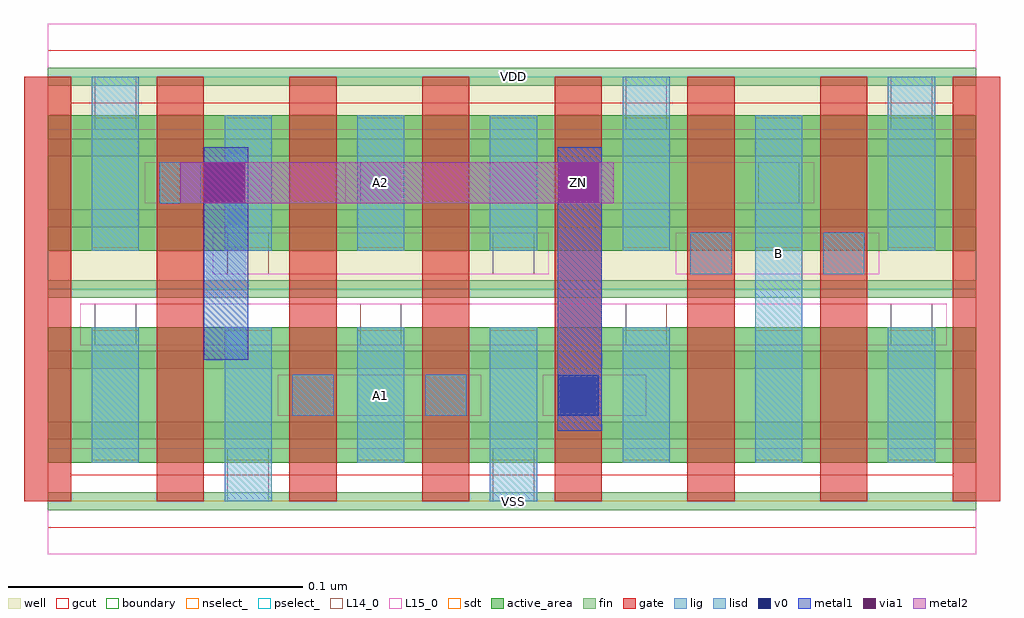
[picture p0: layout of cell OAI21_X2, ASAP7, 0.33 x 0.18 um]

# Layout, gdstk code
import gdstk
lib = gdstk.Library(unit=1e-6, precision=1e-09)
def R(c, l, rs):  # rectangles x0, y0, x1, y1
    for r in rs: c.add(gdstk.rectangle(r[:2], r[2:], *l))
def A(c, l, x, y, w, h, nx, ny, dx, dy):  # array of equal rectangles
    R(c, l, [(x+i*dx, y+j*dy, x+i*dx+w, y+j*dy+h) for i in range(nx) for j in range(ny)])
def P(c, l, *ps):  # polygons
    for p in ps: c.add(gdstk.Polygon(p, *l))
well = (1, 0)
fin = (2, 0)
gate = (7, 0)
gcut = (10, 0)
active_area = (11, 0)
nselect_ = (12, 0)
pselect_ = (13, 0)
L14_0 = (14, 0)
L15_0 = (15, 0)
lig = (16, 0)
lisd = (17, 0)
v0 = (18, 0)
metal1 = (19, 0)
metal2 = (20, 0)
via1 = (21, 0)
sdt = (88, 0)
boundary = (100, 0)

oai21_x2 = lib.new_cell('OAI21_X2')
R(oai21_x2, well, [(0,0.072,0.315,0.144)])
A(oai21_x2, fin, 0, -0.003, 0.315, 0.006, 1, 7, 0, 0.024)
A(oai21_x2, gate, -0.008, 0, 0.016, 0.144, 8, 1, 0.045, 0)
P(oai21_x2, gcut, [(0,-0.009),(0,0),(-0.008,0),(-0.008,0.135),(0.008,0.135),(0.008,0.009),(0.307,0.009),(0.307,0.135),(-0.008,0.135),(-0.008,0.144),(0,0.144),(0,0.153),(0.315,0.153),(0.315,0.144),(0.323,0.144),(0.323,0),(0.315,0),(0.315,-0.009)])
R(oai21_x2, active_area, [(0,0.013,0.315,0.059), (0,0.085,0.315,0.131)])
R(oai21_x2, nselect_, [(0,0,0.315,0.072)])
R(oai21_x2, pselect_, [(0,0.072,0.315,0.144)])
A(oai21_x2, L14_0, 0.083, 0.029, 0.014, 0.014, 3, 1, 0.045, 0)
A(oai21_x2, L14_0, 0.016, 0.053, 0.014, 0.014, 4, 1, 0.09, 0)
R(oai21_x2, L14_0, [(0.061,0,0.075,0.018), (0.151,0,0.165,0.018), (0.061,0.077,0.075,0.091), (0.151,0.077,0.165,0.091), (0.218,0.077,0.232,0.091), (0.263,0.077,0.277,0.091), (0.038,0.101,0.052,0.115), (0.106,0.101,0.12,0.115), (0.241,0.101,0.255,0.115), (0.016,0.126,0.03,0.144), (0.196,0.126,0.21,0.144), (0.286,0.126,0.3,0.144)])
R(oai21_x2, L15_0, [(0,-0.018,0.315,0.018), (0.078,0.029,0.147,0.043), (0.168,0.029,0.203,0.043), (0.011,0.053,0.305,0.067), (0.056,0.077,0.17,0.091), (0.213,0.077,0.282,0.091), (0.033,0.101,0.072,0.115), (0.101,0.101,0.26,0.115), (0,0.126,0.315,0.162)])
A(oai21_x2, lig, 0.083, 0.029, 0.014, 0.014, 3, 1, 0.045, 0)
R(oai21_x2, lig, [(0.218,0.077,0.232,0.091), (0.263,0.077,0.277,0.091), (0.038,0.101,0.052,0.115)])
A(oai21_x2, lisd, 0.015, 0.013, 0.016, 0.046, 4, 1, 0.09, 0)
A(oai21_x2, lisd, 0.06, 0.085, 0.016, 0.046, 3, 1, 0.045, 0)
R(oai21_x2, lisd, [(0.06,0,0.076,0.059), (0.15,0,0.166,0.059), (0.24,0.013,0.256,0.131), (0.015,0.085,0.031,0.144), (0.195,0.085,0.211,0.144), (0.285,0.085,0.301,0.144)])
R(oai21_x2, v0, [(0.173,0.029,0.187,0.043), (0.053,0.101,0.067,0.115)])
R(oai21_x2, metal1, [(0.173,0.024,0.188,0.12), (0.053,0.048,0.068,0.12)])
R(oai21_x2, metal2, [(0.045,0.101,0.192,0.115)])
R(oai21_x2, via1, [(0.053,0.101,0.067,0.115), (0.173,0.101,0.187,0.115)])
A(oai21_x2, sdt, 0.015, 0.014, 0.016, 0.044, 7, 2, 0.045, 0.072)
R(oai21_x2, boundary, [(0,0,0.315,0.144)])
oai21_x2.add(gdstk.Label('ZN', (0.18,0.108), layer=15, texttype=251))
oai21_x2.add(gdstk.Label('VSS', (0.158,0), layer=15, texttype=251))
oai21_x2.add(gdstk.Label('VDD', (0.158,0.144), layer=15, texttype=251))
oai21_x2.add(gdstk.Label('B', (0.248,0.084), layer=15, texttype=251))
oai21_x2.add(gdstk.Label('VSS', (0.158,0), layer=15, texttype=251))
oai21_x2.add(gdstk.Label('VDD', (0.158,0.144), layer=15, texttype=251))
oai21_x2.add(gdstk.Label('A1', (0.113,0.036), layer=15, texttype=251))
oai21_x2.add(gdstk.Label('VSS', (0.158,0), layer=15, texttype=251))
oai21_x2.add(gdstk.Label('VDD', (0.158,0.144), layer=15, texttype=251))
oai21_x2.add(gdstk.Label('VSS', (0.158,0), layer=15, texttype=251))
oai21_x2.add(gdstk.Label('VDD', (0.158,0.144), layer=15, texttype=251))
oai21_x2.add(gdstk.Label('VSS', (0.158,0), layer=3, texttype=251))
oai21_x2.add(gdstk.Label('VSS', (0.158,0), layer=3, texttype=251))
oai21_x2.add(gdstk.Label('VSS', (0.158,0), layer=3, texttype=251))
oai21_x2.add(gdstk.Label('VSS', (0.158,0), layer=3, texttype=251))
oai21_x2.add(gdstk.Label('VDD', (0.158,0.144), layer=1, texttype=251))
oai21_x2.add(gdstk.Label('VDD', (0.158,0.144), layer=1, texttype=251))
oai21_x2.add(gdstk.Label('VDD', (0.158,0.144), layer=1, texttype=251))
oai21_x2.add(gdstk.Label('VDD', (0.158,0.144), layer=1, texttype=251))
oai21_x2.add(gdstk.Label('A2', (0.113,0.108), layer=20, texttype=251))

lib.write_gds('OAI21_X2.gds')
